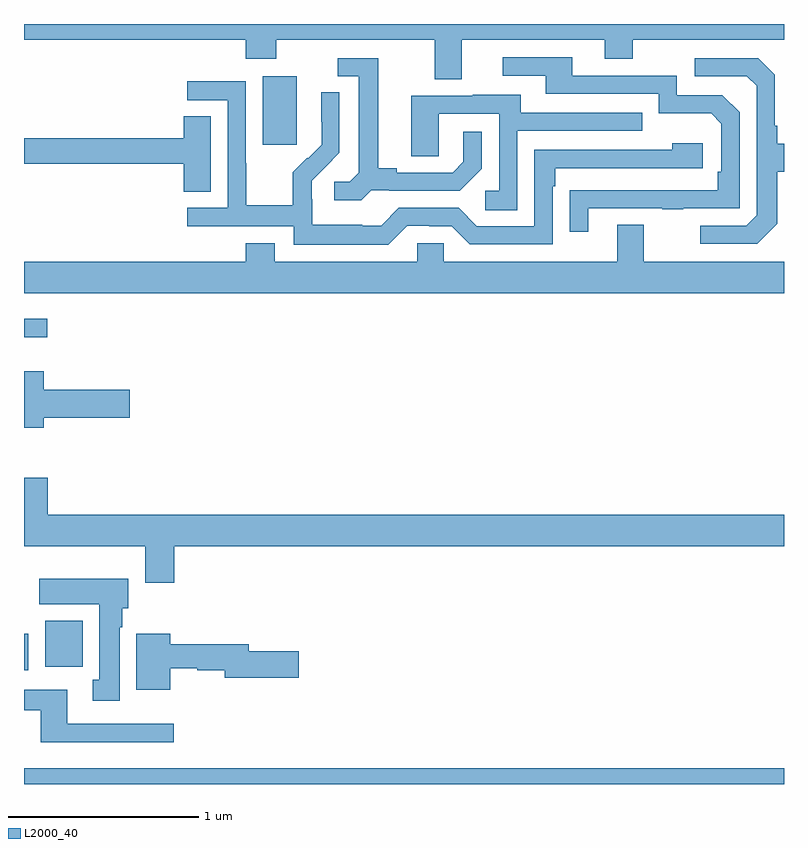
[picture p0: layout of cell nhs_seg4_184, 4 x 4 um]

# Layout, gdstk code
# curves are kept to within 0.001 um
import gdstk
lib = gdstk.Library(unit=1e-6, precision=1e-09)
def R(c, l, rs):  # rectangles x0, y0, x1, y1
    for r in rs: c.add(gdstk.rectangle(r[:2], r[2:], *l))
def P(c, l, *ps):  # polygons
    for p in ps: c.add(gdstk.Polygon(p, *l))
L2000_40 = (2000, 40)

nhs_seg4_184 = lib.new_cell('nhs_seg4_184')
R(nhs_seg4_184, L2000_40, [(119,796.9,123,796.984), (119,797.499,119.023,797.692), (119.111,797.516,119.308,797.758), (119,799.251,119.122,799.348), (120.257,800.265,120.436,800.626)])
P(nhs_seg4_184, L2000_40, [(121.303,800.816),(122.057,800.816),(122.057,800.717),(122.205,800.717),(122.205,800.816),(123,800.816),(123,800.9),(119,800.9),(119,800.816),(120.167,800.816),(120.167,800.717),(120.327,800.717),(120.327,800.816),(121.163,800.816),(121.163,800.608),(121.303,800.608)],
  [(121.969,799.929),(122.359,799.929),(122.359,799.924),(122.471,799.924),(122.471,799.929),(122.766,799.929),(122.766,800.436),(122.676,800.526),(122.436,800.526),(122.436,800.628),(121.885,800.628),(121.885,800.724),(121.521,800.724),(121.521,800.628),(121.745,800.628),(121.745,800.532),(122.34,800.532),(122.34,800.429),(122.617,800.429),(122.67,800.376),(122.67,800.122),(122.65,800.122),(122.65,800.025),(121.873,800.024),(121.873,799.806),(121.969,799.806)],
  [(120.828,800.025),(120.922,800.025),(120.922,800.022),(121.294,800.022),(121.41,800.138),(121.41,800.332),(121.313,800.332),(121.313,800.175),(121.256,800.118),(120.961,800.118),(120.961,800.141),(120.865,800.141),(120.865,800.721),(120.651,800.721),(120.651,800.625),(120.761,800.625),(120.761,800.117),(120.714,800.07),(120.633,800.07),(120.633,799.973),(120.776,799.973)],
  [(122.965,799.849),(122.965,800.122),(123,800.122),(123,800.269),(122.965,800.269),(122.965,800.365),(122.952,800.365),(122.952,800.634),(122.865,800.721),(122.529,800.721),(122.529,800.625),(122.805,800.625),(122.856,800.574),(122.856,799.893),(122.802,799.839),(122.559,799.839),(122.559,799.743),(122.859,799.743)],
  [(121.017,799.839),(121.133,799.839),(121.133,799.836),(121.251,799.836),(121.347,799.74),(121.782,799.74),(121.782,800.045),(121.795,800.045),(121.795,800.142),(122.572,800.142),(122.572,800.272),(122.411,800.272),(122.411,800.238),(121.686,800.238),(121.686,799.836),(121.383,799.836),(121.287,799.932),(120.972,799.932),(120.879,799.839),(120.779,799.839),(120.779,799.843),(120.516,799.843),(120.516,799.977),(120.514,799.977),(120.514,800.074),(120.66,800.222),(120.66,800.54),(120.564,800.54),(120.564,800.386),(120.566,800.386),(120.566,800.264),(120.495,800.193),(120.492,800.196),(120.415,800.119),(120.415,799.945),(120.171,799.945),(120.171,800.168),(120.168,800.168),(120.168,800.598),(119.859,800.598),(119.859,800.499),(120.072,800.499),(120.072,799.932),(119.859,799.932),(119.859,799.836),(120.42,799.836),(120.42,799.739),(120.917,799.739)],
  [(121.596,800.337),(122.255,800.337),(122.255,800.433),(121.615,800.433),(121.615,800.527),(121.361,800.527),(121.361,800.523),(121.037,800.523),(121.037,800.203),(121.182,800.203),(121.182,800.427),(121.5,800.427),(121.5,800.022),(121.428,800.022),(121.428,799.921),(121.596,799.921)],
  [(119.983,800.414),(119.84,800.414),(119.84,800.3),(119,800.3),(119,800.164),(119.84,800.164),(119.84,800.017),(119.983,800.017)],
  [(123,799.648),(122.263,799.648),(122.263,799.843),(122.123,799.843),(122.123,799.648),(121.209,799.648),(121.209,799.746),(121.071,799.746),(121.071,799.648),(120.319,799.648),(120.319,799.747),(120.167,799.747),(120.167,799.648),(119,799.648),(119,799.484),(123,799.484)],
  [(119.104,798.827),(119.557,798.827),(119.557,798.974),(119.104,798.974),(119.104,799.072),(119,799.072),(119,798.776),(119.104,798.776)],
  [(119.792,798.152),(123,798.152),(123,798.316),(119.126,798.316),(119.126,798.511),(119,798.511),(119,798.152),(119.639,798.152),(119.639,797.958),(119.792,797.958)],
  [(119.503,797.726),(119.518,797.726),(119.518,797.826),(119.548,797.826),(119.548,797.98),(119.079,797.98),(119.079,797.846),(119.396,797.846),(119.396,797.45),(119.363,797.45),(119.363,797.337),(119.503,797.337)],
  [(119.77,797.508),(119.913,797.508),(119.913,797.5),(120.056,797.5),(120.056,797.458),(120.445,797.458),(120.445,797.6),(120.184,797.6),(120.184,797.636),(119.77,797.636),(119.77,797.692),(119.591,797.692),(119.591,797.396),(119.77,797.396)],
  [(119.788,797.217),(119.227,797.217),(119.227,797.397),(119,797.397),(119,797.289),(119.087,797.289),(119.087,797.12),(119.788,797.12)])

lib.write_gds('nhs_seg4_184.gds')
